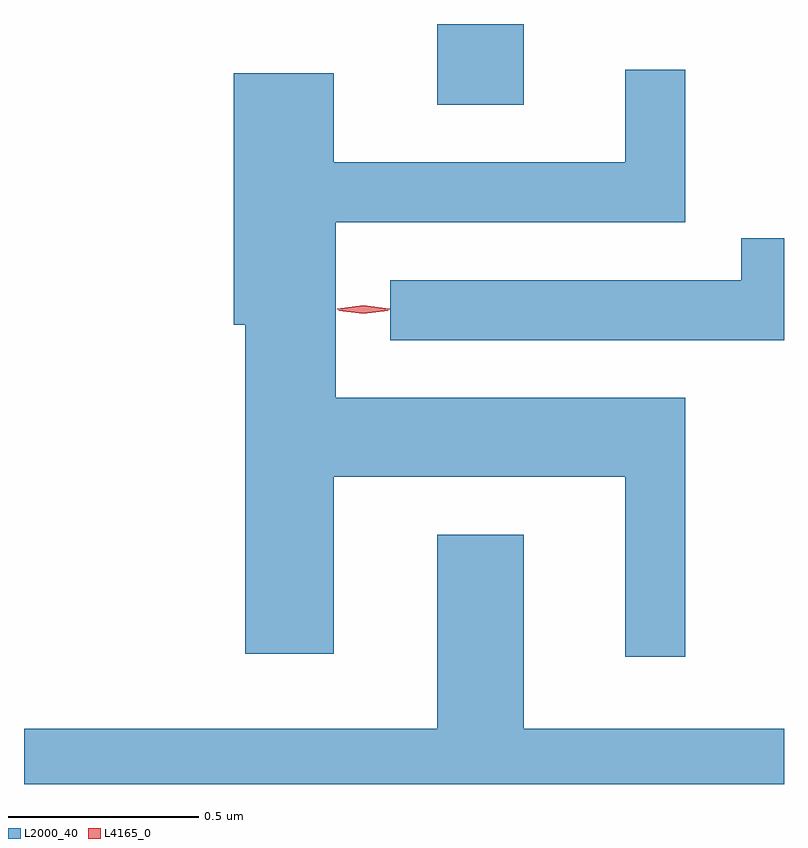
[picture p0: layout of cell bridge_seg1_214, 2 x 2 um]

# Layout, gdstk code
import gdstk
lib = gdstk.Library(unit=1e-6, precision=1e-09)
def R(c, l, rs):  # rectangles x0, y0, x1, y1
    for r in rs: c.add(gdstk.rectangle(r[:2], r[2:], *l))
def P(c, l, *ps):  # polygons
    for p in ps: c.add(gdstk.Polygon(p, *l))
L2000_40 = (2000, 40)
L4165_0 = (4165, 0)

bridge_seg1_214 = lib.new_cell('bridge_seg1_214')
R(bridge_seg1_214, L2000_40, [(719.371,939.226,719.599,939.438)])
P(bridge_seg1_214, L2000_40, [(720.024,938.454),(719.104,938.454),(719.104,938.916),(720.024,938.916),(720.024,939.318),(719.866,939.318),(719.866,939.074),(719.099,939.074),(719.099,939.309),(718.836,939.309),(718.836,938.646),(718.866,938.646),(718.866,937.781),(719.099,937.781),(719.099,938.246),(719.866,938.246),(719.866,937.773),(720.024,937.773)],
  [(720.284,938.874),(720.171,938.874),(720.171,938.764),(719.248,938.764),(719.248,938.606),(720.284,938.606)],
  [(720.284,937.584),(719.599,937.584),(719.599,938.094),(719.371,938.094),(719.371,937.584),(718.284,937.584),(718.284,937.438),(720.284,937.438)])
P(bridge_seg1_214, L4165_0, [(719.177,938.675),(719.112,938.684),(719.112,938.685),(719.112,938.685),(719.177,938.695),(719.242,938.685),(719.243,938.685),(719.242,938.684)],
  [(719.177,938.679),(719.108,938.688),(719.108,938.689),(719.108,938.689),(719.177,938.698),(719.246,938.689),(719.246,938.688),(719.246,938.688)])

lib.write_gds('bridge_seg1_214.gds')
